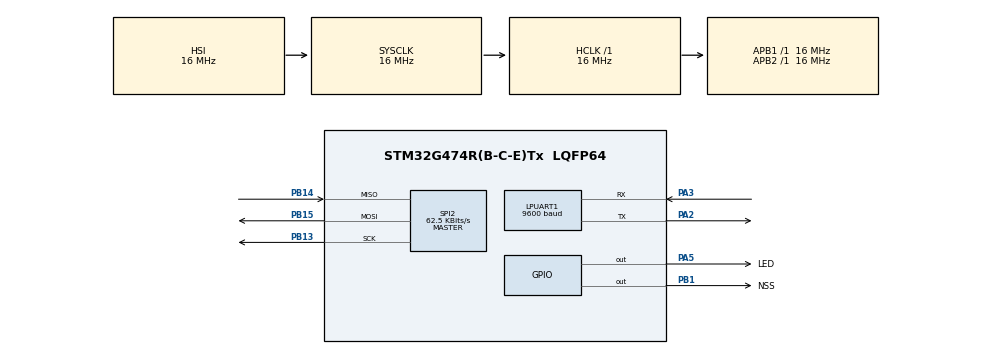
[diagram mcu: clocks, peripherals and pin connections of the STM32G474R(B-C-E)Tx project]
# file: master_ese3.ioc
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LPUART1.BaudRate=9600
Mcu.Family=STM32G4
Mcu.Name=STM32G474R(B-C-E)Tx
Mcu.Package=LQFP64
NVIC.LPUART1_IRQn=true\:0\:0\:false\:false\:true\:true\:true\:true
NVIC.PriorityGroup=NVIC_PRIORITYGROUP_4
NVIC.SPI2_IRQn=true\:0\:0\:false\:false\:true\:true\:true\:true
PA2.Mode=Asynchronous
PA2.Signal=LPUART1_TX
PA3.Mode=Asynchronous
PA3.Signal=LPUART1_RX
PA5.GPIO_Label=LED
PA5.Signal=GPIO_Output
PB1.GPIO_Label=NSS
PB1.Signal=GPIO_Output
PB13.Mode=Full_Duplex_Master
PB13.Signal=SPI2_SCK
PB14.Mode=Full_Duplex_Master
PB14.Signal=SPI2_MISO
PB15.Mode=Full_Duplex_Master
PB15.Signal=SPI2_MOSI
ProjectManager.HeapSize=0x200
ProjectManager.StackSize=0x400
ProjectManager.TargetToolchain=STM32CubeIDE
RCC.AHBFreq_Value=16000000
RCC.APB1Freq_Value=16000000
RCC.APB1TimFreq_Value=16000000
RCC.APB2Freq_Value=16000000
RCC.APB2TimFreq_Value=16000000
RCC.CortexFreq_Value=16000000
RCC.EXTERNAL_CLOCK_VALUE=12288000
RCC.HCLKFreq_Value=16000000
RCC.HSE_VALUE=8000000
RCC.HSI48_VALUE=48000000
RCC.HSI_VALUE=16000000
RCC.LSE_VALUE=32768
RCC.SYSCLKFreq_VALUE=16000000
RCC.USBFreq_Value=64000000
RCC.VCOOutputFreq_Value=128000000
SPI2.BaudRatePrescaler=SPI_BAUDRATEPRESCALER_256
SPI2.CalculateBaudRate=62.5 KBits/s
SPI2.Direction=SPI_DIRECTION_2LINES
SPI2.Mode=SPI_MODE_MASTER
SPI2.VirtualType=VM_MASTER
VP_SYS_VS_DBSignals.Mode=DisableDeadBatterySignals
board=custom

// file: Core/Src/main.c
/* USER CODE BEGIN Header */
/**
  ******************************************************************************
  * @file           : main.c
  * @brief          : Main program body (MASTER - Ottimizzazione Numerica)
  ******************************************************************************
  * @attention
  *
  * Copyright (c) 2026 STMicroelectronics.
  * All rights reserved.
  *
  * This software is licensed under terms that can be found in the LICENSE file
  * in the root directory of this software component.
  * If no LICENSE file comes with this software, it is provided AS-IS.
  *
  ******************************************************************************
  */
/* USER CODE END Header */
#include "main.h"
#include "usart.h"
#include "spi.h"
#include "gpio.h"

/* USER CODE BEGIN Includes */
#include "string.h"
#include "stdlib.h"
#include "stdio.h"
/* USER CODE END Includes */

/* USER CODE BEGIN PD */
#define UART_MSG_SIZE 100
/* USER CODE END PD */

/* USER CODE BEGIN PV */
uint8_t master_rx_val = 0xFF;            // Singolo byte di atterraggio dallo Slave
uint8_t master_tx_val = 0xFF;            // Byte dummy per generare il clock SPI

char log_buffer_master[UART_MSG_SIZE];   // Buffer per le stampe su PuTTY
uint8_t uart_master_busy = 0;            // Semaforo software UART
volatile uint8_t spi_master_busy = 0;     // Semaforo software SPI

// Il codice corretto memorizzato direttamente in valore numerico binario
// "011" in binario corrisponde al numero decimale 3
const uint8_t SECRET_CODE_NUM = 3;
uint32_t last_poll_time = 0;             // Per il polling non bloccante
/* USER CODE END PV */

void SystemClock_Config(void);

int main(void)
{
  /* MCU Configuration--------------------------------------------------------*/
  HAL_Init();

  /* Configure the system clock */
  SystemClock_Config();

  /* Initialize all configured peripherals */
  MX_GPIO_Init();
  MX_LPUART1_UART_Init();
  MX_SPI2_Init();

  /* USER CODE BEGIN 2 */
  snprintf(log_buffer_master, sizeof(log_buffer_master), "Master Numerico Avviato! SECRET_CODE = %d\r\n", SECRET_CODE_NUM);
  HAL_UART_Transmit_IT(&hlpuart1, (uint8_t*)log_buffer_master, strlen(log_buffer_master));
  /* USER CODE END 2 */

  /* Infinite loop */
  while (1)
  {

    /* USER CODE BEGIN 3 */
	uint32_t current_time = HAL_GetTick();

	// Polling non bloccante cadenzato ogni 2 secondi
	if (current_time - last_poll_time >= 2000) {
		last_poll_time = current_time;

		if (!spi_master_busy) {
			spi_master_busy = 1;

			// Protezione hardware: forzo il reset del target prima dello scambio
			master_rx_val = 0xFF;

			// 1. ATTIVAZIONE SLAVE (NSS Software): Abbasso manualmente il Chip Select
			HAL_GPIO_WritePin(NSS_GPIO_Port, NSS_Pin, GPIO_PIN_RESET);

			// 2. CHIAMATA ASINCRONA: Invio 1 byte dummy per ricevere 1 byte dallo Slave
			HAL_StatusTypeDef status = HAL_SPI_TransmitReceive_IT(&hspi2, &master_tx_val, &master_rx_val, 1);

			// Se la chiamata fallisce immediatamente a livello software, svuoto i semafori
			if (status != HAL_OK) {
				HAL_GPIO_WritePin(NSS_GPIO_Port, NSS_Pin, GPIO_PIN_SET);
				spi_master_busy = 0;

				if (!uart_master_busy) {
					uart_master_busy = 1;
					snprintf(log_buffer_master, sizeof(log_buffer_master), "[POLLING FALLITO] Errore HAL: %d\r\n", status);
					HAL_UART_Transmit_IT(&hlpuart1, (uint8_t*)log_buffer_master, strlen(log_buffer_master));
				}
			}
		}
	}
  }
  /* USER CODE END 3 */
}

void SystemClock_Config(void)
{
  RCC_OscInitTypeDef RCC_OscInitStruct = {0};
  RCC_ClkInitTypeDef RCC_ClkInitStruct = {0};

  HAL_PWREx_ControlVoltageScaling(PWR_REGULATOR_VOLTAGE_SCALE1);

  RCC_OscInitStruct.OscillatorType = RCC_OSCILLATORTYPE_HSI;
  RCC_OscInitStruct.HSIState = RCC_HSI_ON;
  RCC_OscInitStruct.HSICalibrationValue = RCC_HSICALIBRATION_DEFAULT;
  RCC_OscInitStruct.PLL.PLLState = RCC_PLL_NONE;
  if (HAL_RCC_OscConfig(&RCC_OscInitStruct) != HAL_OK)
  {
    Error_Handler();
  }

  RCC_ClkInitStruct.ClockType = RCC_CLOCKTYPE_HCLK|RCC_CLOCKTYPE_SYSCLK
                              |RCC_CLOCKTYPE_PCLK1|RCC_CLOCKTYPE_PCLK2;
  RCC_ClkInitStruct.SYSCLKSource = RCC_SYSCLKSOURCE_HSI;
  RCC_ClkInitStruct.AHBCLKDivider = RCC_SYSCLK_DIV1;
  RCC_ClkInitStruct.APB1CLKDivider = RCC_HCLK_DIV1;
  RCC_ClkInitStruct.APB2CLKDivider = RCC_HCLK_DIV1;

  if (HAL_RCC_ClockConfig(&RCC_ClkInitStruct, FLASH_LATENCY_0) != HAL_OK)
  {
    Error_Handler();
  }
}

/* USER CODE BEGIN 4 */
// ==============================================================================
// 1. CALLBACK FINE TRASMISSIONE/RICEZIONE SPI (SUCCESSO)
// ==============================================================================
void HAL_SPI_TxRxCpltCallback(SPI_HandleTypeDef *hspi) {
    if (hspi->Instance == hspi2.Instance) {
        // Disattivazione immediata linea CS (NSS Software)
        HAL_GPIO_WritePin(NSS_GPIO_Port, NSS_Pin, GPIO_PIN_SET);

        // Validazione stringente: accettiamo solo valori reali da 0 a 7 (3 bit)
        // Scartiamo 0xFF (Slave a riposo) o rumore elettrico ad alta impedenza
        if (master_rx_val <= 7) {

            if (master_rx_val == SECRET_CODE_NUM) {
                uart_master_busy = 1;
                snprintf(log_buffer_master, sizeof(log_buffer_master),
                         "[MASTER] Ricevuto Valore: %d -> ACCESSO GARANTITO!\r\n", master_rx_val);
            } else {
                uart_master_busy = 1;
                snprintf(log_buffer_master, sizeof(log_buffer_master),
                         "[MASTER] Ricevuto Valore: %d -> ACCESSO NEGATO!\r\n", master_rx_val);
            }
            HAL_UART_Transmit_IT(&hlpuart1, (uint8_t*)log_buffer_master, strlen(log_buffer_master));
        }

        // Rilascio il semaforo software SPI per permettere il prossimo polling
        spi_master_busy = 0;
    }
}

// ==============================================================================
// 2. CALLBACK INTERCETTAZIONE ERRORI HARDWARE SPI
// ==============================================================================
void HAL_SPI_ErrorCallback(SPI_HandleTypeDef *hspi) {
	if (hspi->Instance == hspi2.Instance) {
		// Sgancio forzatamente lo Slave rialzando la linea di selezione
		HAL_GPIO_WritePin(NSS_GPIO_Port, NSS_Pin, GPIO_PIN_SET);

		if (!uart_master_busy) {
			uart_master_busy = 1;
			snprintf(log_buffer_master, sizeof(log_buffer_master), "[HARDWARE ERROR] Eccezione sul bus SPI. Errore: 0x%08X\r\n", hspi->ErrorCode);
			HAL_UART_Transmit_IT(&hlpuart1, (uint8_t*)log_buffer_master, strlen(log_buffer_master));
		}

		// Reset forzato del semaforo per non congelare i polling futuri
		spi_master_busy = 0;
	}
}

// ==============================================================================
// 3. CALLBACK FINE TRASMISSIONE UART
// ==============================================================================
void HAL_UART_TxCpltCallback(UART_HandleTypeDef *huart) {
    if (huart->Instance == hlpuart1.Instance) {
        // Rilascio il semaforo software del Logger seriale
        uart_master_busy = 0;
    }
}
/* USER CODE END 4 */

void Error_Handler(void)
{
  __disable_irq();
  while (1)
  {
  }
}
